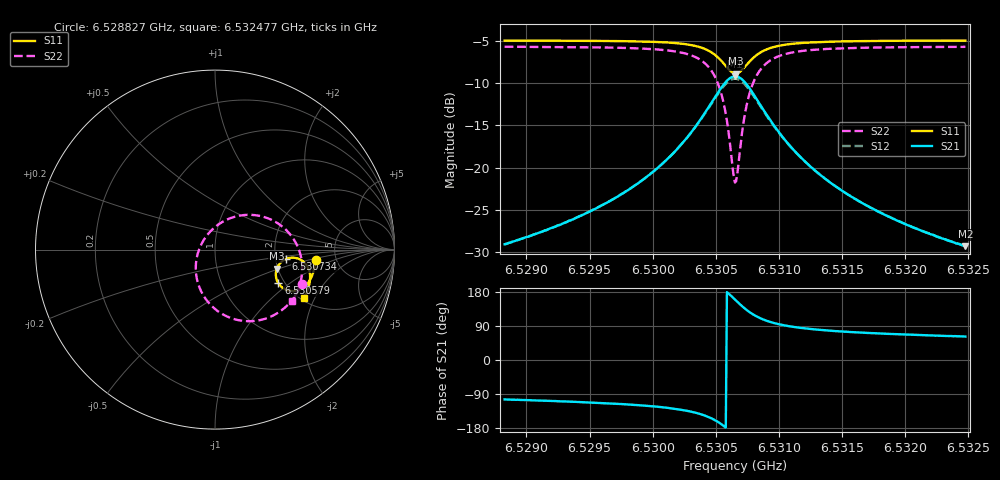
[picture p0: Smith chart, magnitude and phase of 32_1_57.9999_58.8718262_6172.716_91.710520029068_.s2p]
#  HZ  S  RI  R  50.00
! Rohde & Schwarz Vector Network Analyzer
! Rohde-Schwarz,ZNB20-2Port,1311601062101988,3.16
! Created: UTC 3/21/2024, 12:51:43 AM
! freq[Hz]  re:S11  im:S11  re:S21  im:S21  re:S12  im:S12  re:S22  im:S22
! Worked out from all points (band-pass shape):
!   401 points, 6.528827 GHz to 6.532477 GHz, reference 50 ohm
!   highest |S21| = -9.20 dB at 6.530652 GHz (marker M1); lowest = -29.3 dB at 6.532477 GHz (marker M2)
!   |S21| within 3 dB of the highest: 6.530471 GHz to 6.530836 GHz (365.4 kHz wide, 0.00559 % of centre)
!   lowest |S11| = -8.9 dB at 6.530661 GHz (marker M3), VSWR 2.13, Z = 98.7 - j23.9 ohm
!   |S11| at or under -10 dB: nowhere
!   |S22| runs from -21.8 to -5.7 dB; largest |S21 - S12| = 0.015
!   S11 on the Smith chart (normalised r, x): 6.528827 GHz: 3.47, -0.61; 6.530579 GHz: 1.85, -0.82; 6.530734 GHz: 2.28, -0.29; 6.532477 GHz: 2.08, -1.66
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6.5288272e9  0.5608 -0.0595  -0.00854 -0.0341  -0.00925 -0.0339  0.482 -0.1924
6.5294386e9  0.5513 -0.1127  -0.0189 -0.0486  -0.0201 -0.0483  0.4488 -0.2541
6.5297853e9  0.5402 -0.1473  -0.0326 -0.0644  -0.0344 -0.0634  0.4132 -0.3
6.5300499e9  0.5234 -0.1793  -0.0561 -0.0841  -0.0587 -0.0823  0.3602 -0.3457
6.5302598e9  0.4952 -0.2097  -0.1004 -0.1065  -0.1038 -0.103  0.2707 -0.3878
6.530424e9  0.4434 -0.2308  -0.1837 -0.1146  -0.1862 -0.1063  0.1182 -0.3903
6.5305153e9  0.3917 -0.2219  -0.2645 -0.081  -0.2629 -0.0691  -0.0157 -0.3166
6.5305518e9  0.3684 -0.2059  -0.2995 -0.0462  -0.2943 -0.0339  -0.0675 -0.2506
6.5305792e9  0.3529 -0.1871  -0.321 -0.00922  -0.3128 0.00248  -0.0956 -0.1844
6.5306339e9  0.3389 -0.1344  -0.3335 0.0874  -0.3204 0.0941  -0.0964 -0.0226
6.5306521e9  0.3418 -0.1148  -0.3248 0.1214  -0.3112 0.1256  -0.0752 0.0314
6.5306613e9  0.3446 -0.1055  -0.3181 0.1378  -0.3043 0.1406  -0.0609 0.0566
6.5306795e9  0.3534 -0.088  -0.2999 0.1677  -0.2866 0.1682  -0.0255 0.1019
6.5307069e9  0.3719 -0.0668  -0.264 0.2031  -0.2527 0.201  0.0398 0.1535
6.5307343e9  0.3943 -0.0529  -0.2232 0.2258  -0.2141 0.2219  0.1112 0.1833
6.5307981e9  0.4446 -0.0459  -0.1349 0.2365  -0.1304 0.2322  0.2609 0.1851
6.5308894e9  0.4914 -0.0662  -0.0555 0.2054  -0.0536 0.2028  0.3904 0.115
6.5310263e9  0.5201 -0.104  -0.00665 0.1524  -0.00531 0.1516  0.4641 0.00787
6.5312635e9  0.53 -0.151  0.015 0.0983  0.0161 0.0979  0.4862 -0.1045
6.531519e9  0.527 -0.1852  0.0189 0.0689  0.0197 0.0685  0.479 -0.1713
6.5318749e9  0.5174 -0.2213  0.0184 0.0477  0.0191 0.0473  0.4615 -0.2279
6.5324771e9  0.4968 -0.2703  0.0161 0.0302  0.0167 0.03  0.4302 -0.2891
